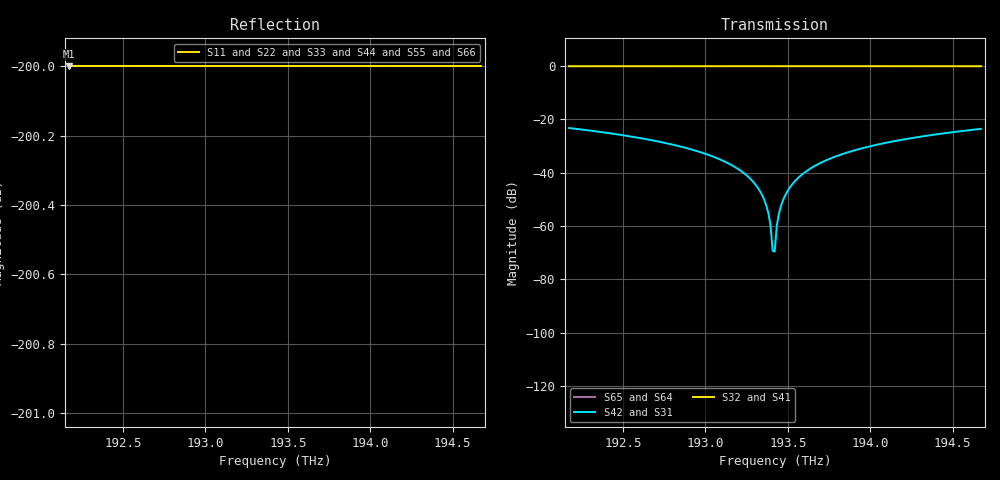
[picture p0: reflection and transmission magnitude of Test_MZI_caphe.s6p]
! Touchstone file export by IPKISS
! Luceda port in1: mode 0:0
! Luceda port in2: mode 0:1
! Luceda port out1: mode 0:2
! Luceda port out2: mode 0:3
! Luceda port elec1: mode 0:4
! Luceda port elec2: mode 0:5
# GHz S MA R 50.0
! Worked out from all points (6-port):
!   200 points, 192.17 THz to 194.67 THz, reference 50 ohm
!   strongest paths, dB at 192.17 THz, 192.8 THz, 193.42 THz, 194.05 THz, 194.67 THz:
!     S32: -0.1, -0.1, -0.1, -0.1, -0.1
!     S41: -0.1, -0.1, -0.1, -0.1, -0.1
!     S42: -23.3, -29.4, -69.6, -29.4, -23.6
!     S31: -23.3, -29.4, -69.6, -29.4, -23.6
!     S65: -, -, -, -, -
!     S64: -, -, -, -, -
!   lowest |S11| = - dB at 192.17 THz (marker M1), VSWR 1.00, Z = 50 + j0 ohm
!   |S11| at or under -10 dB: start of sweep to end of sweep
